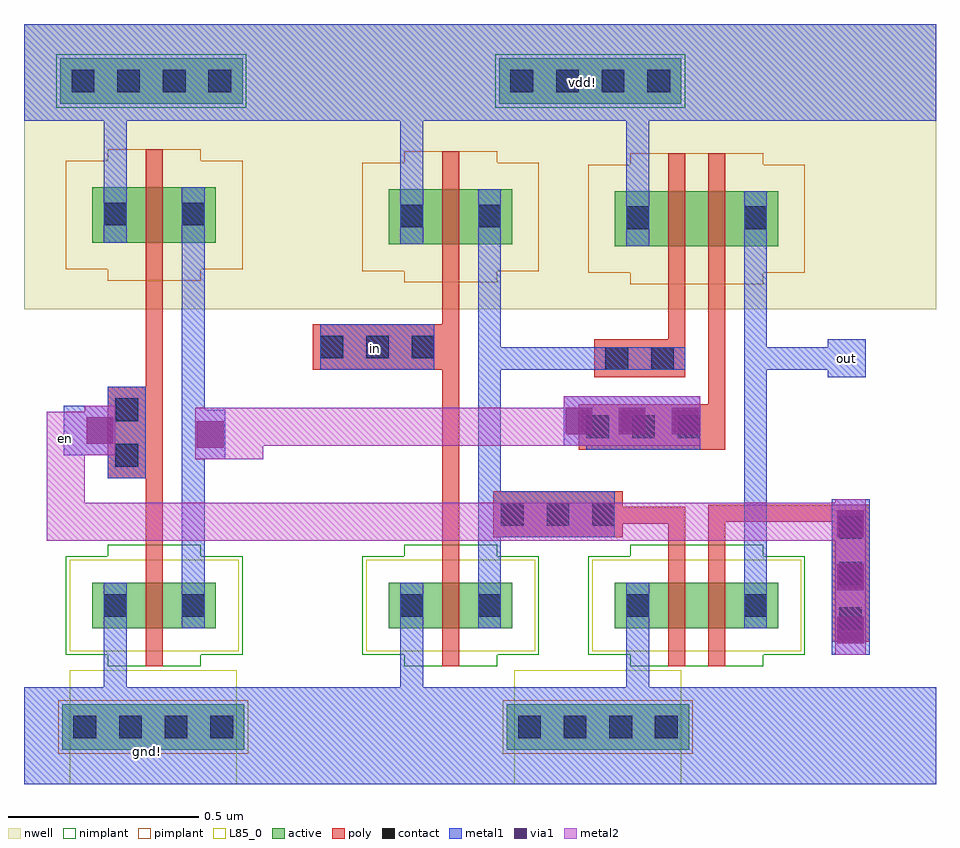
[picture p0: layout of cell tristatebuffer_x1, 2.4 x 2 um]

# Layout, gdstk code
from math import pi, radians
import gdstk
lib = gdstk.Library(unit=1e-6, precision=5e-10)
def R(c, l, rs):  # rectangles x0, y0, x1, y1
    for r in rs: c.add(gdstk.rectangle(r[:2], r[2:], *l))
def A(c, l, x, y, w, h, nx, ny, dx, dy):  # array of equal rectangles
    R(c, l, [(x+i*dx, y+j*dy, x+i*dx+w, y+j*dy+h) for i in range(nx) for j in range(ny)])
active = (1, 0)
nwell = (2, 0)
poly = (3, 0)
nimplant = (4, 0)
pimplant = (5, 0)
contact = (6, 0)
metal1 = (7, 0)
via1 = (8, 0)
metal2 = (9, 0)
L85_0 = (85, 0)

nmos1v_cdns_764112572790 = lib.new_cell('nmos1v_CDNS_764112572790')
R(nmos1v_cdns_764112572790, active, [(-0.14,0,0,0.12), (0,0,0.045,0.12), (0.045,0,0.185,0.12)])
R(nmos1v_cdns_764112572790, poly, [(0,-0.1,0.045,-0.05), (0,-0.05,0.045,0), (0,0,0.045,0.12), (0,0.12,0.045,0.17), (0,0.17,0.045,0.22)])
R(nmos1v_cdns_764112572790, nimplant, [(-0.1,-0.1,0.145,0.22), (-0.21,-0.07,0.255,0.19)])
R(nmos1v_cdns_764112572790, contact, [(-0.11,0.03,-0.05,0.09), (0.095,0.03,0.155,0.09)])
R(nmos1v_cdns_764112572790, metal1, [(-0.11,0,-0.05,0.12), (0.095,0,0.155,0.12)])
R(nmos1v_cdns_764112572790, L85_0, [(-0.2,-0.06,0.245,0.18)])

pmos1v_cdns_764112572791 = lib.new_cell('pmos1v_CDNS_764112572791')
R(pmos1v_cdns_764112572791, active, [(-0.14,0,0,0.145), (0,0,0.045,0.145), (0.045,0,0.185,0.145)])
R(pmos1v_cdns_764112572791, nwell, [(-0.2,-0.06,0.245,0.205)])
R(pmos1v_cdns_764112572791, poly, [(0,-0.1,0.045,-0.05), (0,-0.05,0.045,0), (0,0,0.045,0.145), (0,0.145,0.045,0.195), (0,0.195,0.045,0.245)])
R(pmos1v_cdns_764112572791, pimplant, [(-0.1,-0.1,0.145,0.245), (-0.21,-0.07,0.255,0.215)])
R(pmos1v_cdns_764112572791, contact, [(-0.11,0.045,-0.05,0.105), (0.095,0.045,0.155,0.105)])
R(pmos1v_cdns_764112572791, metal1, [(-0.11,0,-0.05,0.145), (0.095,0,0.155,0.145)])

m1_psub_cdns_76411257279 = lib.new_cell('M1_PSUB_CDNS_764112572796')
R(m1_psub_cdns_76411257279, active, [(-0.24,-0.06,0.24,0.06)])
R(m1_psub_cdns_76411257279, pimplant, [(-0.25,-0.07,0.25,0.07)])
A(m1_psub_cdns_76411257279, contact, -0.21, -0.03, 0.06, 0.06, 4, 1, 0.12, 0)
R(m1_psub_cdns_76411257279, metal1, [(-0.21,-0.06,0.21,0.06)])
R(m1_psub_cdns_76411257279, L85_0, [(-0.22,-0.15,0.22,0.15)])

m1_po_cdns_764112572797 = lib.new_cell('M1_PO_CDNS_764112572797')
R(m1_po_cdns_764112572797, poly, [(-0.05,-0.12,0.05,0.12)])
R(m1_po_cdns_764112572797, contact, [(-0.03,-0.09,0.03,-0.03), (-0.03,0.03,0.03,0.09)])
R(m1_po_cdns_764112572797, metal1, [(-0.05,-0.12,0.05,0.12)])

m2_m1_cdns_764112572798 = lib.new_cell('M2_M1_CDNS_764112572798')
R(m2_m1_cdns_764112572798, metal1, [(-0.04,-0.065,0.04,0.065)])
R(m2_m1_cdns_764112572798, via1, [(-0.035,-0.035,0.035,0.035)])
R(m2_m1_cdns_764112572798, metal2, [(-0.04,-0.065,0.04,0.065)])

m2_m1_cdns_764112572799 = lib.new_cell('M2_M1_CDNS_764112572799')
R(m2_m1_cdns_764112572799, metal1, [(-0.095,-0.065,0.095,0.065)])
R(m2_m1_cdns_764112572799, via1, [(-0.035,-0.035,0.035,0.035)])
R(m2_m1_cdns_764112572799, metal2, [(-0.04,-0.065,0.04,0.065)])

m1_nwell_cdns_7641125727 = lib.new_cell('M1_NWELL_CDNS_764112572795')
R(m1_nwell_cdns_7641125727, active, [(-0.24,-0.06,0.24,0.06)])
R(m1_nwell_cdns_7641125727, nwell, [(-0.27,-0.15,0.27,0.15)])
R(m1_nwell_cdns_7641125727, nimplant, [(-0.25,-0.07,0.25,0.07)])
A(m1_nwell_cdns_7641125727, contact, -0.21, -0.03, 0.06, 0.06, 4, 1, 0.12, 0)
R(m1_nwell_cdns_7641125727, metal1, [(-0.21,-0.06,0.21,0.06)])

inv_x1 = lib.new_cell('inv_x1')
R(inv_x1, nwell, [(0,1.25,0.675,2)])
R(inv_x1, metal1, [(0,0,0.675,0.255), (0.275,0.035,0.375,0.135), (0,1.745,0.675,2), (0.3,1.895,0.4,1.995)])
R(inv_x1, metal2, [(0.06,0.88,0.16,0.98), (0.53,0.88,0.63,0.98)])
inv_x1.add(gdstk.FlexPath([(0.3425,1.325),(0.3425,0.63)], 0.045, ends="flush", simple_path=True, layer=3, datatype=0))  # poly
inv_x1.add(gdstk.FlexPath([(0.24,1.545),(0.24,1.93)], 0.06, ends=(0, 0.07), simple_path=True, layer=7, datatype=0))  # metal1
inv_x1.add(gdstk.FlexPath([(0.24,0.41),(0.24,0.07)], 0.06, ends=(0, 0.07), simple_path=True, layer=7, datatype=0))  # metal1
inv_x1.add(gdstk.FlexPath([(0.445,1.425),(0.445,0.53)], 0.06, ends="flush", simple_path=True, layer=7, datatype=0))  # metal1
inv_x1.add(gdstk.Reference(nmos1v_cdns_764112572790, (0.32,0.41)))
inv_x1.add(gdstk.Reference(pmos1v_cdns_764112572791, (0.32,1.425)))
inv_x1.add(gdstk.Reference(m1_psub_cdns_76411257279, (0.34,0.15)))
inv_x1.add(gdstk.Reference(m1_po_cdns_764112572797, (0.27,0.925)))
inv_x1.add(gdstk.Reference(m2_m1_cdns_764112572798, (0.49,0.92)))
inv_x1.add(gdstk.Reference(m2_m1_cdns_764112572799, (0.2,0.93)))
inv_x1.add(gdstk.Reference(m1_nwell_cdns_7641125727, (0.335,1.85)))
inv_x1.add(gdstk.Label('vdd!', (0.35,1.945), layer=7, texttype=0))
inv_x1.add(gdstk.Label('gnd!', (0.325,0.085), layer=7, texttype=0))
inv_x1.add(gdstk.Label('Vin', (0.11,0.93), layer=9, texttype=0))
inv_x1.add(gdstk.Label('Vout', (0.58,0.93), layer=9, texttype=0))

pmos1v_cdns_764112572792 = lib.new_cell('pmos1v_CDNS_764112572792')
R(pmos1v_cdns_764112572792, active, [(-0.14,0,0,0.145), (0,0,0.045,0.145), (0.045,0,0.075,0.145)])
R(pmos1v_cdns_764112572792, nwell, [(-0.2,-0.06,0.135,0.205)])
R(pmos1v_cdns_764112572792, poly, [(0,-0.1,0.045,-0.05), (0,-0.05,0.045,0), (0,0,0.045,0.145), (0,0.145,0.045,0.195), (0,0.195,0.045,0.245)])
R(pmos1v_cdns_764112572792, pimplant, [(-0.1,-0.1,0.145,0.245), (-0.21,-0.07,0.145,0.215)])
R(pmos1v_cdns_764112572792, contact, [(-0.11,0.045,-0.05,0.105)])
R(pmos1v_cdns_764112572792, metal1, [(-0.11,0,-0.05,0.145)])

pmos1v_cdns_764112572793 = lib.new_cell('pmos1v_CDNS_764112572793')
R(pmos1v_cdns_764112572793, active, [(-0.03,0,0,0.145), (0,0,0.045,0.145), (0.045,0,0.185,0.145)])
R(pmos1v_cdns_764112572793, nwell, [(-0.09,-0.06,0.245,0.205)])
R(pmos1v_cdns_764112572793, poly, [(0,-0.1,0.045,-0.05), (0,-0.05,0.045,0), (0,0,0.045,0.145), (0,0.145,0.045,0.195), (0,0.195,0.045,0.245)])
R(pmos1v_cdns_764112572793, pimplant, [(-0.1,-0.1,0.145,0.245), (-0.1,-0.07,0.255,0.215)])
R(pmos1v_cdns_764112572793, contact, [(0.095,0.045,0.155,0.105)])
R(pmos1v_cdns_764112572793, metal1, [(0.095,0,0.155,0.145)])

nmos1v_cdns_764112572794 = lib.new_cell('nmos1v_CDNS_764112572794')
R(nmos1v_cdns_764112572794, active, [(-0.03,0,0,0.12), (0,0,0.045,0.12), (0.045,0,0.185,0.12)])
R(nmos1v_cdns_764112572794, poly, [(0,-0.1,0.045,-0.05), (0,-0.05,0.045,0), (0,0,0.045,0.12), (0,0.12,0.045,0.17), (0,0.17,0.045,0.22)])
R(nmos1v_cdns_764112572794, nimplant, [(-0.1,-0.1,0.145,0.22), (-0.1,-0.07,0.255,0.19)])
R(nmos1v_cdns_764112572794, contact, [(0.095,0.03,0.155,0.09)])
R(nmos1v_cdns_764112572794, metal1, [(0.095,0,0.155,0.12)])
R(nmos1v_cdns_764112572794, L85_0, [(-0.09,-0.06,0.245,0.18)])

nmos1v_cdns_764112572795 = lib.new_cell('nmos1v_CDNS_764112572795')
R(nmos1v_cdns_764112572795, active, [(-0.14,0,0,0.12), (0,0,0.045,0.12), (0.045,0,0.075,0.12)])
R(nmos1v_cdns_764112572795, poly, [(0,-0.1,0.045,-0.05), (0,-0.05,0.045,0), (0,0,0.045,0.12), (0,0.12,0.045,0.17), (0,0.17,0.045,0.22)])
R(nmos1v_cdns_764112572795, nimplant, [(-0.1,-0.1,0.145,0.22), (-0.21,-0.07,0.145,0.19)])
R(nmos1v_cdns_764112572795, contact, [(-0.11,0.03,-0.05,0.09)])
R(nmos1v_cdns_764112572795, metal1, [(-0.11,0,-0.05,0.12)])
R(nmos1v_cdns_764112572795, L85_0, [(-0.2,-0.06,0.135,0.18)])

m1_po_cdns_764112572790 = lib.new_cell('M1_PO_CDNS_764112572790')
R(m1_po_cdns_764112572790, poly, [(-0.05,-0.12,0.05,0.12)])
R(m1_po_cdns_764112572790, contact, [(-0.03,-0.09,0.03,-0.03), (-0.03,0.03,0.03,0.09)])
R(m1_po_cdns_764112572790, metal1, [(-0.03,-0.12,0.03,0.12)])

m1_po_cdns_764112572791 = lib.new_cell('M1_PO_CDNS_764112572791')
R(m1_po_cdns_764112572791, poly, [(-0.17,-0.06,0.17,0.06)])
A(m1_po_cdns_764112572791, contact, -0.15, -0.03, 0.06, 0.06, 3, 1, 0.12, 0)
R(m1_po_cdns_764112572791, metal1, [(-0.15,-0.06,0.15,0.06)])

m2_m1_cdns_764112572792 = lib.new_cell('M2_M1_CDNS_764112572792')
R(m2_m1_cdns_764112572792, metal1, [(-0.04,-0.205,0.04,0.205)])
A(m2_m1_cdns_764112572792, via1, -0.035, -0.175, 0.07, 0.07, 1, 3, 0, 0.14)
R(m2_m1_cdns_764112572792, metal2, [(-0.04,-0.205,0.04,0.205)])

m1_po_cdns_764112572793 = lib.new_cell('M1_PO_CDNS_764112572793')
R(m1_po_cdns_764112572793, poly, [(-0.05,-0.18,0.05,0.18)])
A(m1_po_cdns_764112572793, contact, -0.03, -0.15, 0.06, 0.06, 1, 3, 0, 0.12)
R(m1_po_cdns_764112572793, metal1, [(-0.03,-0.18,0.03,0.18)])

m2_m1_cdns_764112572794 = lib.new_cell('M2_M1_CDNS_764112572794')
R(m2_m1_cdns_764112572794, metal1, [(-0.18,-0.065,0.18,0.065)])
A(m2_m1_cdns_764112572794, via1, -0.175, -0.035, 0.07, 0.07, 3, 1, 0.14, 0)
R(m2_m1_cdns_764112572794, metal2, [(-0.18,-0.065,0.18,0.065)])

tristatebuffer_x1 = lib.new_cell('tristatebuffer_x1')
R(tristatebuffer_x1, nwell, [(0,1.25,2.4,2)])
R(tristatebuffer_x1, metal1, [(0,0,2.4,0.255), (0.275,0.035,0.375,0.135), (2.125,0.34,2.225,0.75), (2.115,1.07,2.215,1.17), (0.875,1.095,0.975,1.195), (0,1.745,2.4,2), (1.42,1.795,1.52,1.895)])
R(tristatebuffer_x1, metal2, [(0.45,0.855,0.63,0.99), (0.06,0.86,0.16,0.96)])
tristatebuffer_x1.add(gdstk.FlexPath([(1.6,0.94),(1.6,0.935)], 0.1, ends=(0.05, 0), simple_path=True, layer=9, datatype=0))  # metal2
tristatebuffer_x1.add(gdstk.FlexPath([(0.63,0.94),(1.6,0.94)], 0.1, ends=(0, 0.05), simple_path=True, layer=9, datatype=0))  # metal2
tristatebuffer_x1.add(gdstk.FlexPath([(0.11,0.69),(2.135,0.69)], 0.1, ends=(0.05, 0), simple_path=True, layer=9, datatype=0))  # metal2
tristatebuffer_x1.add(gdstk.FlexPath([(0.11,0.86),(0.11,0.69)], 0.1, ends=(0, 0.05), simple_path=True, layer=9, datatype=0))  # metal2
tristatebuffer_x1.add(gdstk.FlexPath([(1.925,0.53),(1.925,1.12)], 0.06, ends=(0, 0.03), simple_path=True, layer=7, datatype=0))  # metal1
tristatebuffer_x1.add(gdstk.FlexPath([(1.225,0.53),(1.225,1.12)], 0.06, ends=(0, 0.03), simple_path=True, layer=7, datatype=0))  # metal1
tristatebuffer_x1.add(gdstk.FlexPath([(1.615,0.41),(1.615,0.255)], 0.06, ends="flush", simple_path=True, layer=7, datatype=0))  # metal1
tristatebuffer_x1.add(gdstk.FlexPath([(1.02,0.41),(1.02,0.255)], 0.06, ends="flush", simple_path=True, layer=7, datatype=0))  # metal1
tristatebuffer_x1.add(gdstk.FlexPath([(1.02,1.565),(1.02,1.745)], 0.06, ends="flush", simple_path=True, layer=7, datatype=0))  # metal1
tristatebuffer_x1.add(gdstk.FlexPath([(1.615,1.56),(1.615,1.745)], 0.06, ends="flush", simple_path=True, layer=7, datatype=0))  # metal1
tristatebuffer_x1.add(gdstk.FlexPath([(1.925,1.12),(2.17,1.12)], 0.06, ends=(0.03, 0), simple_path=True, layer=7, datatype=0))  # metal1
tristatebuffer_x1.add(gdstk.FlexPath([(1.925,1.415),(1.925,1.12)], 0.06, ends=(0, 0.03), simple_path=True, layer=7, datatype=0))  # metal1
tristatebuffer_x1.add(gdstk.FlexPath([(1.225,1.12),(1.695,1.12)], 0.06, ends=(0.03, 0), simple_path=True, layer=7, datatype=0))  # metal1
tristatebuffer_x1.add(gdstk.FlexPath([(1.225,1.42),(1.225,1.12)], 0.06, ends=(0, 0.03), simple_path=True, layer=7, datatype=0))  # metal1
tristatebuffer_x1.add(gdstk.FlexPath([(1.7175,0.7075),(1.25,0.7075)], 0.045, ends=(0.0225, 0), simple_path=True, layer=3, datatype=0))  # poly
tristatebuffer_x1.add(gdstk.FlexPath([(1.7175,0.63),(1.7175,0.7075)], 0.045, ends=(0, 0.0225), simple_path=True, layer=3, datatype=0))  # poly
tristatebuffer_x1.add(gdstk.FlexPath([(1.7175,1.1175),(1.62,1.1175)], 0.045, ends=(0.0225, 0), simple_path=True, layer=3, datatype=0))  # poly
tristatebuffer_x1.add(gdstk.FlexPath([(1.8225,0.7125),(2.135,0.7125)], 0.045, ends=(0.0225, 0), simple_path=True, layer=3, datatype=0))  # poly
tristatebuffer_x1.add(gdstk.FlexPath([(1.8225,0.63),(1.8225,0.7125)], 0.045, ends=(0, 0.0225), simple_path=True, layer=3, datatype=0))  # poly
tristatebuffer_x1.add(gdstk.FlexPath([(1.8225,1.315),(1.8225,0.88)], 0.045, ends="flush", simple_path=True, layer=3, datatype=0))  # poly
tristatebuffer_x1.add(gdstk.FlexPath([(1.1225,1.32),(1.1225,0.63)], 0.045, ends="flush", simple_path=True, layer=3, datatype=0))  # poly
tristatebuffer_x1.add(gdstk.FlexPath([(1.7175,1.315),(1.7175,1.1175)], 0.045, ends=(0, 0.0225), simple_path=True, layer=3, datatype=0))  # poly
tristatebuffer_x1.add(gdstk.Reference(inv_x1, (0,0)))
tristatebuffer_x1.add(gdstk.Reference(pmos1v_cdns_764112572791, (1.1,1.42)))
tristatebuffer_x1.add(gdstk.Reference(nmos1v_cdns_764112572790, (1.1,0.41)))
tristatebuffer_x1.add(gdstk.Reference(pmos1v_cdns_764112572792, (1.695,1.415)))
tristatebuffer_x1.add(gdstk.Reference(pmos1v_cdns_764112572793, (1.8,1.415)))
tristatebuffer_x1.add(gdstk.Reference(nmos1v_cdns_764112572794, (1.8,0.41)))
tristatebuffer_x1.add(gdstk.Reference(nmos1v_cdns_764112572795, (1.695,0.41)))
tristatebuffer_x1.add(gdstk.Reference(m1_po_cdns_764112572790, (1.62,1.12), rotation=pi/2))
tristatebuffer_x1.add(gdstk.Reference(m1_po_cdns_764112572791, (1.63,0.94)))
tristatebuffer_x1.add(gdstk.Reference(m1_po_cdns_764112572791, (1.405,0.71)))
tristatebuffer_x1.add(gdstk.Reference(m1_po_cdns_764112572791, (0.93,1.15)))
tristatebuffer_x1.add(gdstk.Reference(m2_m1_cdns_764112572792, (2.175,0.545)))
tristatebuffer_x1.add(gdstk.Reference(m1_po_cdns_764112572793, (2.175,0.555)))
tristatebuffer_x1.add(gdstk.Reference(m2_m1_cdns_764112572794, (1.6,0.955)))
tristatebuffer_x1.add(gdstk.Reference(m1_nwell_cdns_7641125727, (1.49,1.85)))
tristatebuffer_x1.add(gdstk.Reference(m1_psub_cdns_76411257279, (1.51,0.15)))
tristatebuffer_x1.add(gdstk.Label('en', (0.11,0.91), layer=9, texttype=0))
tristatebuffer_x1.add(gdstk.Label('vdd!', (1.47,1.845), layer=7, texttype=0))
tristatebuffer_x1.add(gdstk.Label('gnd!', (0.325,0.085), layer=7, texttype=0))
tristatebuffer_x1.add(gdstk.Label('out', (2.165,1.12), layer=7, texttype=0))
tristatebuffer_x1.add(gdstk.Label('in', (0.925,1.145), layer=7, texttype=0))

lib.write_gds('tristatebuffer_x1.gds')
